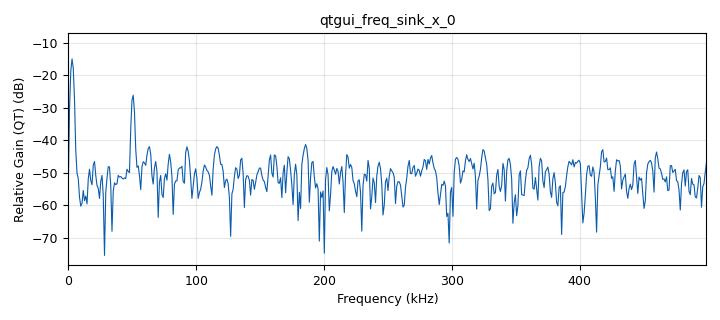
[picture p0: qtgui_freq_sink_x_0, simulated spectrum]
<?xml version='1.0' encoding='utf-8'?>
<?grc format='1' created='3.7.12'?>
<flow_graph>
<block>
<key>options</key>
<param><key>id</key><value>B4_STFT_goertzel_example</value></param>
<param><key>generate_options</key><value>qt_gui</value></param>
<param><key>title</key><value>B.4 STFT Example (Goertzel-based)</value></param>
</block>
<block>
<key>variable</key>
<param><key>id</key><value>ampl</value></param>
<param><key>value</key><value>1</value></param>
</block>
<block>
<key>variable</key>
<param><key>id</key><value>f_max</value></param>
<param><key>value</key><value>15000</value></param>
</block>
<block>
<key>variable</key>
<param><key>id</key><value>f_min</value></param>
<param><key>value</key><value>1000</value></param>
</block>
<block>
<key>variable</key>
<param><key>id</key><value>f_res</value></param>
<param><key>value</key><value>1000</value></param>
</block>
<block>
<key>variable</key>
<param><key>id</key><value>fft_length</value></param>
<param><key>value</key><value>1024</value></param>
</block>
<block>
<key>variable</key>
<param><key>id</key><value>fft_rate</value></param>
<param><key>value</key><value>900000</value></param>
</block>
<block>
<key>variable_qtgui_range</key>
<param><key>id</key><value>freq</value></param>
<param><key>value</key><value>3000</value></param>
<param><key>gui_hint</key><value>0,0,1,2</value></param>
<param><key>label</key><value>RF Frequency [Hz]</value></param>
<param><key>orient</key><value>Qt.Horizontal</value></param>
<param><key>start</key><value>0</value></param>
<param><key>step</key><value>1e3</value></param>
<param><key>stop</key><value>samp_rate/2</value></param>
</block>
<block>
<key>variable</key>
<param><key>id</key><value>n_bins</value></param>
<param><key>value</key><value>50</value></param>
</block>
<block>
<key>variable</key>
<param><key>id</key><value>n_fft_threads</value></param>
<param><key>value</key><value>4</value></param>
</block>
<block>
<key>variable_qtgui_range</key>
<param><key>id</key><value>offset</value></param>
<param><key>value</key><value>0</value></param>
<param><key>gui_hint</key><value>1,0,1,2</value></param>
<param><key>label</key><value>RF Signal Offset</value></param>
<param><key>orient</key><value>Qt.Horizontal</value></param>
<param><key>start</key><value>0</value></param>
<param><key>step</key><value>0.01</value></param>
<param><key>stop</key><value>10</value></param>
</block>
<block>
<key>variable</key>
<param><key>id</key><value>samp_rate</value></param>
<param><key>value</key><value>1000000</value></param>
</block>
<block>
<key>analog_const_source_x</key>
<param><key>id</key><value>analog_const_source_x_0</value></param>
<param><key>const</key><value>offset</value></param>
<param><key>type</key><value>float</value></param>
</block>
<block>
<key>analog_noise_source_x</key>
<param><key>id</key><value>analog_noise_source_x_0_0_0</value></param>
<param><key>amp</key><value>0.2</value></param>
<param><key>noise_type</key><value>analog.GR_GAUSSIAN</value></param>
<param><key>type</key><value>float</value></param>
<param><key>seed</key><value>0</value></param>
</block>
<block>
<key>analog_sig_source_x</key>
<param><key>id</key><value>analog_sig_source_x_0_0_0_1</value></param>
<param><key>amp</key><value>ampl</value></param>
<param><key>freq</key><value>freq</value></param>
<param><key>offset</key><value>0</value></param>
<param><key>type</key><value>float</value></param>
<param><key>samp_rate</key><value>samp_rate</value></param>
<param><key>waveform</key><value>analog.GR_SIN_WAVE</value></param>
</block>
<block>
<key>analog_sig_source_x</key>
<param><key>id</key><value>analog_sig_source_x_0_0_0_1_0_0</value></param>
<param><key>amp</key><value>0.9</value></param>
<param><key>freq</key><value>0.25</value></param>
<param><key>offset</key><value>0</value></param>
<param><key>type</key><value>float</value></param>
<param><key>samp_rate</key><value>samp_rate</value></param>
<param><key>waveform</key><value>analog.GR_SIN_WAVE</value></param>
</block>
<block>
<key>analog_sig_source_x</key>
<param><key>id</key><value>analog_sig_source_x_0_0_0_1_0_1_0</value></param>
<param><key>amp</key><value>ampl</value></param>
<param><key>freq</key><value>50500</value></param>
<param><key>offset</key><value>0</value></param>
<param><key>type</key><value>float</value></param>
<param><key>samp_rate</key><value>samp_rate</value></param>
<param><key>waveform</key><value>analog.GR_SIN_WAVE</value></param>
</block>
<block>
<key>blocks_add_xx</key>
<param><key>id</key><value>blocks_add_xx_0_0</value></param>
<param><key>type</key><value>float</value></param>
<param><key>num_inputs</key><value>4</value></param>
</block>
<block>
<key>blocks_multiply_xx</key>
<param><key>id</key><value>blocks_multiply_xx_0</value></param>
<param><key>type</key><value>float</value></param>
</block>
<block>
<key>blocks_nlog10_ff</key>
<param><key>id</key><value>blocks_nlog10_ff_0</value></param>
<param><key>vlen</key><value>n_bins</value></param>
<param><key>k</key><value>0</value></param>
<param><key>n</key><value>20</value></param>
</block>
<block>
<key>blocks_null_sink</key>
<param><key>id</key><value>blocks_null_sink_0</value></param>
<param><key>bus_conns</key><value>[[0,],]</value></param>
<param><key>type</key><value>float</value></param>
</block>
<block>
<key>blocks_null_sink</key>
<param><key>id</key><value>blocks_null_sink_1</value></param>
<param><key>bus_conns</key><value>[[0,],]</value></param>
<param><key>type</key><value>float</value></param>
<param><key>vlen</key><value>n_bins</value></param>
</block>
<block>
<key>blocks_throttle</key>
<param><key>id</key><value>blocks_throttle_0</value></param>
<param><key>samples_per_second</key><value>samp_rate</value></param>
<param><key>type</key><value>float</value></param>
</block>
<block>
<key>digitizers_stft_algorithms</key>
<param><key>id</key><value>digitizers_stft_algorithms_0</value></param>
<param><key>alg_id</key><value>1</value></param>
<param><key>delta_t</key><value>0.02</value></param>
<param><key>fq_low</key><value>f_min</value></param>
<param><key>nbins</key><value>n_bins</value></param>
<param><key>samp_rate</key><value>samp_rate</value></param>
<param><key>fq_hi</key><value>f_max</value></param>
<param><key>win_type</key><value>firdes.WIN_BLACKMAN_hARRIS</value></param>
<param><key>win_size</key><value>1024</value></param>
</block>
<block>
<key>qtgui_freq_sink_x</key>
<param><key>id</key><value>qtgui_freq_sink_x_0</value></param>
<param><key>autoscale</key><value>True</value></param>
<param><key>bw</key><value>samp_rate</value></param>
<param><key>fc</key><value>0</value></param>
<param><key>fftsize</key><value>fft_length</value></param>
<param><key>gui_hint</key><value>3,0</value></param>
<param><key>grid</key><value>True</value></param>
<param><key>color1</key><value>"dark green"</value></param>
<param><key>showports</key><value>True</value></param>
<param><key>freqhalf</key><value>False</value></param>
<param><key>type</key><value>float</value></param>
<param><key>wintype</key><value>firdes.WIN_BLACKMAN_hARRIS</value></param>
<param><key>label</key><value>Relative Gain (QT)</value></param>
</block>
<block>
<key>qtgui_vector_sink_f</key>
<param><key>id</key><value>qtgui_vector_sink_f_0</value></param>
<param><key>gui_hint</key><value>2,0</value></param>
<param><key>grid</key><value>True</value></param>
<param><key>showports</key><value>True</value></param>
<param><key>update_time</key><value>0.05</value></param>
<param><key>vlen</key><value>n_bins</value></param>
<param><key>x_axis_label</key><value>"frequency"</value></param>
<param><key>x_start</key><value>f_min</value></param>
<param><key>x_step</key><value>f_res</value></param>
<param><key>ymax</key><value>2</value></param>
<param><key>ymin</key><value>0</value></param>
<param><key>y_axis_label</key><value>"magnitude [a.u.]"</value></param>
</block>
<block>
<key>qtgui_vector_sink_f</key>
<param><key>id</key><value>qtgui_vector_sink_f_0_0</value></param>
<param><key>gui_hint</key><value>2,1</value></param>
<param><key>grid</key><value>True</value></param>
<param><key>color1</key><value>"red"</value></param>
<param><key>showports</key><value>True</value></param>
<param><key>vlen</key><value>n_bins</value></param>
<param><key>x_axis_label</key><value>"frequency"</value></param>
<param><key>x_start</key><value>f_min</value></param>
<param><key>x_step</key><value>f_res</value></param>
<param><key>ymax</key><value>180</value></param>
<param><key>ymin</key><value>-180</value></param>
<param><key>y_axis_label</key><value>"phase [rad]"</value></param>
</block>
<block>
<key>qtgui_vector_sink_f</key>
<param><key>id</key><value>qtgui_vector_sink_f_0_1</value></param>
<param><key>gui_hint</key><value>3,1</value></param>
<param><key>grid</key><value>True</value></param>
<param><key>showports</key><value>True</value></param>
<param><key>vlen</key><value>n_bins</value></param>
<param><key>x_axis_label</key><value>"frequency"</value></param>
<param><key>x_start</key><value>f_min</value></param>
<param><key>x_step</key><value>f_res</value></param>
<param><key>ymax</key><value>0</value></param>
<param><key>ymin</key><value>-40</value></param>
<param><key>y_axis_label</key><value>"magnitude [dB]"</value></param>
<param><key>y_units</key><value>"[dB]"</value></param>
</block>
<connection><source_block_id>analog_const_source_x_0</source_block_id><sink_block_id>blocks_add_xx_0_0</sink_block_id><source_key>0</source_key><sink_key>3</sink_key></connection>
<connection><source_block_id>analog_noise_source_x_0_0_0</source_block_id><sink_block_id>blocks_add_xx_0_0</sink_block_id><source_key>0</source_key><sink_key>0</sink_key></connection>
<connection><source_block_id>analog_sig_source_x_0_0_0_1</source_block_id><sink_block_id>blocks_add_xx_0_0</sink_block_id><source_key>0</source_key><sink_key>1</sink_key></connection>
<connection><source_block_id>analog_sig_source_x_0_0_0_1_0_0</source_block_id><sink_block_id>blocks_multiply_xx_0</sink_block_id><source_key>0</source_key><sink_key>0</sink_key></connection>
<connection><source_block_id>analog_sig_source_x_0_0_0_1_0_1_0</source_block_id><sink_block_id>blocks_multiply_xx_0</sink_block_id><source_key>0</source_key><sink_key>1</sink_key></connection>
<connection><source_block_id>blocks_add_xx_0_0</source_block_id><sink_block_id>blocks_throttle_0</sink_block_id><source_key>0</source_key><sink_key>0</sink_key></connection>
<connection><source_block_id>blocks_add_xx_0_0</source_block_id><sink_block_id>digitizers_stft_algorithms_0</sink_block_id><source_key>0</source_key><sink_key>0</sink_key></connection>
<connection><source_block_id>blocks_multiply_xx_0</source_block_id><sink_block_id>blocks_add_xx_0_0</sink_block_id><source_key>0</source_key><sink_key>2</sink_key></connection>
<connection><source_block_id>blocks_nlog10_ff_0</source_block_id><sink_block_id>qtgui_vector_sink_f_0_1</sink_block_id><source_key>0</source_key><sink_key>0</sink_key></connection>
<connection><source_block_id>blocks_throttle_0</source_block_id><sink_block_id>blocks_null_sink_0</sink_block_id><source_key>0</source_key><sink_key>0</sink_key></connection>
<connection><source_block_id>blocks_throttle_0</source_block_id><sink_block_id>qtgui_freq_sink_x_0</sink_block_id><source_key>0</source_key><sink_key>0</sink_key></connection>
<connection><source_block_id>digitizers_stft_algorithms_0</source_block_id><sink_block_id>blocks_nlog10_ff_0</sink_block_id><source_key>0</source_key><sink_key>0</sink_key></connection>
<connection><source_block_id>digitizers_stft_algorithms_0</source_block_id><sink_block_id>qtgui_vector_sink_f_0</sink_block_id><source_key>0</source_key><sink_key>0</sink_key></connection>
<connection><source_block_id>digitizers_stft_algorithms_0</source_block_id><sink_block_id>blocks_null_sink_1</sink_block_id><source_key>2</source_key><sink_key>0</sink_key></connection>
<connection><source_block_id>digitizers_stft_algorithms_0</source_block_id><sink_block_id>qtgui_vector_sink_f_0_0</sink_block_id><source_key>1</source_key><sink_key>0</sink_key></connection>
</flow_graph>
